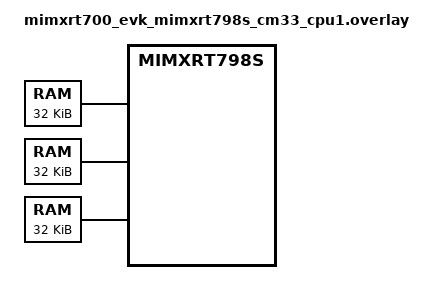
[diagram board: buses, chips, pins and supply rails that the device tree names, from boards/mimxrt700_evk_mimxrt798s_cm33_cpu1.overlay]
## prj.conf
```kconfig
#
# Copyright 2026 NXP
#
# SPDX-License-Identifier: Apache-2.0
#

CONFIG_PRINTK=y
CONFIG_HEAP_MEM_POOL_SIZE=4096
CONFIG_MAIN_STACK_SIZE=4096

CONFIG_IPC_SERVICE=y
CONFIG_IPC_SERVICE_BACKEND_RPMSG_LITE=y
CONFIG_MBOX=y

CONFIG_RPMSGLITE=y
CONFIG_RL_API_HAS_ZEROCOPY=y
CONFIG_RL_USE_STATIC_API=y

CONFIG_LOG=y
CONFIG_IPC_SERVICE_LOG_LEVEL_INF=y
```

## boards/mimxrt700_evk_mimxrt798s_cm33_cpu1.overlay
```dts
/*
 * Copyright 2026 NXP
 *
 * SPDX-License-Identifier: Apache-2.0
 */

#include <zephyr/dt-bindings/ipc_service/static_vrings.h>
#include <zephyr/dt-bindings/memory-attr/memory-attr-arm.h>

/ {
	/* Define memory regions for IPC */
	sram1_ipc0: memory@20200000 {
		compatible = "zephyr,memory-region", "mmio-sram";
		reg = <0x20200000 DT_SIZE_K(32)>;
		zephyr,memory-region = "SRAM1_IPC0";
		zephyr,memory-attr = <DT_MEM_ARM(ATTR_MPU_IO)>;
	};

	sram1_ipc1: memory@20208000 {
		compatible = "zephyr,memory-region", "mmio-sram";
		reg = <0x20208000 DT_SIZE_K(32)>;
		zephyr,memory-region = "SRAM1_IPC1";
		zephyr,memory-attr = <DT_MEM_ARM(ATTR_MPU_IO)>;
	};

	sram1_ipc2: memory@20210000 {
		compatible = "zephyr,memory-region", "mmio-sram";
		reg = <0x20210000 DT_SIZE_K(32)>;
		zephyr,memory-region = "SRAM1_IPC2";
		zephyr,memory-attr = <DT_MEM_ARM(ATTR_MPU_IO)>;
	};

	ipc {
		/delete-node/ ipc0;

		ipc0: ipc0 {
			compatible = "nxp,ipc-rpmsg-lite";
			memory-region = <&sram1_ipc0>;
			mboxes = <&mbox1_b 2>, <&mbox1_b 3>;
			mbox-names = "rx", "tx";
			link-id = <0>;
			role = "remote";
			status = "okay";
		};

		ipc1: ipc1 {
			compatible = "nxp,ipc-rpmsg-lite";
			memory-region = <&sram1_ipc1>;
			notification-parent = <&ipc0>;
			link-id = <1>;
			role = "remote";
			zephyr,priority = <1 PRIO_COOP>;
			zephyr,buffer-size = <128>;
			status = "okay";
		};

		ipc2: ipc2 {
			compatible = "nxp,ipc-rpmsg-lite";
			memory-region = <&sram1_ipc2>;
			notification-parent = <&ipc0>;
			link-id = <2>;
			role = "remote";
			status = "okay";
		};
	};
};
```

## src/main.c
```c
/*
 * Copyright (c) 2021 Carlo Caione <ccaione@baylibre.com>
 * Copyright 2026 NXP
 *
 * SPDX-License-Identifier: Apache-2.0
 */

#include <zephyr/kernel.h>
#include <zephyr/device.h>

#include <zephyr/ipc/ipc_service.h>

#define STACKSIZE    (4096)
#define PRIORITY     K_PRIO_PREEMPT(2)
#define NUM_MESSAGES 20

/* Start-gate semaphores: ipc1 starts after ipc0 ends, ipc2 after ipc1 ends */
static K_SEM_DEFINE(ipc1_start_sem, 0, 1);
static K_SEM_DEFINE(ipc2_start_sem, 0, 1);

/* Bound / data semaphores */
static K_SEM_DEFINE(ipc0_bound_sem, 0, 1);
static K_SEM_DEFINE(ipc1_bound_sem, 0, 1);
static K_SEM_DEFINE(ipc2_bound_sem, 0, 1);

static K_SEM_DEFINE(ipc0_data_sem, 0, 1);
static K_SEM_DEFINE(ipc1_data_sem, 0, 1);
static K_SEM_DEFINE(ipc2_data_sem, 0, 1);

static volatile uint8_t ipc0_received_data;
static volatile uint8_t ipc2_received_data;

/* NOCOPY: ipc1 stores the received buffer pointer */
static void *ipc1_recv_data;

/* ------------------------------------------------------------------ */
/*  IPC instance 0 callbacks                                           */
/* ------------------------------------------------------------------ */

static void ipc0_ept_bound(void *priv)
{
	k_sem_give(&ipc0_bound_sem);
}

static void ipc0_ept_recv(const void *data, size_t len, void *priv)
{
	ipc0_received_data = *((uint8_t *)data);
	k_sem_give(&ipc0_data_sem);
}

static struct ipc_ept_cfg ipc0_ept_cfg = {
	.name = "ipc0",
	.cb = {
		.bound    = ipc0_ept_bound,
		.received = ipc0_ept_recv,
	},
};

/* ------------------------------------------------------------------ */
/*  IPC instance 1 callbacks (NOCOPY)                                  */
/* ------------------------------------------------------------------ */

static void ipc1_ept_bound(void *priv)
{
	k_sem_give(&ipc1_bound_sem);
}

static void ipc1_ept_recv(const void *data, size_t len, void *priv)
{
	ipc1_recv_data = (void *)data;
	k_sem_give(&ipc1_data_sem);
}

static struct ipc_ept_cfg ipc1_ept_cfg = {
	.name = "ipc1",
	.cb = {
		.bound    = ipc1_ept_bound,
		.received = ipc1_ept_recv,
	},
};

/* ------------------------------------------------------------------ */
/*  IPC instance 2 callbacks                                           */
/* ------------------------------------------------------------------ */

static void ipc2_ept_bound(void *priv)
{
	k_sem_give(&ipc2_bound_sem);
}

static void ipc2_ept_recv(const void *data, size_t len, void *priv)
{
	ipc2_received_data = *((uint8_t *)data);
	k_sem_give(&ipc2_data_sem);
}

static struct ipc_ept_cfg ipc2_ept_cfg = {
	.name = "ipc2",
	.cb = {
		.bound    = ipc2_ept_bound,
		.received = ipc2_ept_recv,
	},
};

/* ------------------------------------------------------------------ */
/*  THREAD 0 (IPC instance 0)                                          */
/* ------------------------------------------------------------------ */

static void ipc0_entry(void *dummy0, void *dummy1, void *dummy2)
{
	ARG_UNUSED(dummy0);
	ARG_UNUSED(dummy1);
	ARG_UNUSED(dummy2);

	const struct device *ipc0_instance;
	unsigned char message = 0;
	struct ipc_ept ipc0_ept;
	int ret;

	printk("IPC-service REMOTE [INST 0] demo started\n");

	ipc0_instance = DEVICE_DT_GET(DT_NODELABEL(ipc0));

	ret = ipc_service_open_instance(ipc0_instance);
	if (ret < 0 && ret != -EALREADY) {
		printk("ipc_service_open_instance() failure\n");
		goto out;
	}

	ret = ipc_service_register_endpoint(ipc0_instance, &ipc0_ept, &ipc0_ept_cfg);
	if (ret < 0) {
		printk("ipc_service_register_endpoint() failure\n");
		goto out;
	}

	k_sem_take(&ipc0_bound_sem, K_FOREVER);

	while (message < NUM_MESSAGES - 1) {
		k_sem_take(&ipc0_data_sem, K_FOREVER);
		message = ipc0_received_data;
		printk("REMOTE [0]: %d\n", message);
		message++;

		ret = ipc_service_send(&ipc0_ept, &message, sizeof(message));
		if (ret < 0) {
			printk("send_message(%d) failed with ret %d\n", message, ret);
			break;
		}
	}

	printk("IPC-service REMOTE [INST 0] demo ended.\n");

out:
	k_sem_give(&ipc1_start_sem);
}

K_THREAD_DEFINE(ipc0_thread_id, STACKSIZE, ipc0_entry, NULL, NULL, NULL, PRIORITY, 0, 0);

/* ------------------------------------------------------------------ */
/*  THREAD 1 (IPC instance 1) — NOCOPY                                 */
/* ------------------------------------------------------------------ */

static struct ipc_ept ipc1_ept;

static void ipc1_entry(void *dummy0, void *dummy1, void *dummy2)
{
	ARG_UNUSED(dummy0);
	ARG_UNUSED(dummy1);
	ARG_UNUSED(dummy2);

	const struct device *ipc1_instance;
	unsigned char message = 0;
	int ret;

	/* Wait for instance 0 to finish */
	k_sem_take(&ipc1_start_sem, K_FOREVER);

	printk("IPC-service REMOTE [INST 1] demo started\n");

	ipc1_instance = DEVICE_DT_GET(DT_NODELABEL(ipc1));

	ret = ipc_service_open_instance(ipc1_instance);
	if (ret < 0 && ret != -EALREADY) {
		printk("ipc_service_open_instance() failure\n");
		goto out;
	}

	/*
	 * Give the host thread time to open and register its ipc1 endpoint
	 * after its own ipc0 loop finishes.
	 */
	k_sleep(K_MSEC(100));

	ret = ipc_service_register_endpoint(ipc1_instance, &ipc1_ept, &ipc1_ept_cfg);
	if (ret < 0) {
		printk("ipc_service_register_endpoint() failure\n");
		goto out;
	}

	k_sem_take(&ipc1_bound_sem, K_FOREVER);

	while (message < NUM_MESSAGES) {
		uint32_t len = sizeof(message);
		void *data;

		k_sem_take(&ipc1_data_sem, K_FOREVER);
		printk("REMOTE [1]: %d\n", *((unsigned char *)ipc1_recv_data));

		ret = ipc_service_get_tx_buffer(&ipc1_ept, &data, &len, K_FOREVER);
		if (ret < 0) {
			printk("ipc_service_get_tx_buffer failed with ret %d\n", ret);
			break;
		}

		*((unsigned char *)data) = *((unsigned char *)ipc1_recv_data) + 1;

		ret = ipc_service_release_rx_buffer(&ipc1_ept, ipc1_recv_data);
		if (ret < 0) {
			printk("ipc_service_release_rx_buffer failed with ret %d\n", ret);
			break;
		}

		ret = ipc_service_send_nocopy(&ipc1_ept, data, sizeof(unsigned char));
		if (ret < 0) {
			printk("send_message(%d) failed with ret %d\n", message, ret);
			break;
		}

		message++;
	}

	printk("IPC-service REMOTE [INST 1] demo ended.\n");

out:
	k_sem_give(&ipc2_start_sem);
}

K_THREAD_DEFINE(ipc1_thread_id, STACKSIZE, ipc1_entry, NULL, NULL, NULL, PRIORITY, 0, 0);

/* ------------------------------------------------------------------ */
/*  THREAD 2 (IPC instance 2)                                          */
/* ------------------------------------------------------------------ */

static void ipc2_entry(void *dummy0, void *dummy1, void *dummy2)
{
	ARG_UNUSED(dummy0);
	ARG_UNUSED(dummy1);
	ARG_UNUSED(dummy2);

	const struct device *ipc2_instance;
	unsigned char message = 0;
	struct ipc_ept ipc2_ept;
	int ret;

	/* Wait for instance 1 to finish */
	k_sem_take(&ipc2_start_sem, K_FOREVER);

	printk("IPC-service REMOTE [INST 2] demo started\n");

	ipc2_instance = DEVICE_DT_GET(DT_NODELABEL(ipc2));

	ret = ipc_service_open_instance(ipc2_instance);
	if (ret < 0 && ret != -EALREADY) {
		printk("ipc_service_open_instance() failure\n");
		return;
	}

	ret = ipc_service_register_endpoint(ipc2_instance, &ipc2_ept, &ipc2_ept_cfg);
	if (ret < 0) {
		printk("ipc_service_register_endpoint() failure\n");
		return;
	}

	k_sem_take(&ipc2_bound_sem, K_FOREVER);

	while (message < NUM_MESSAGES - 1) {
		k_sem_take(&ipc2_data_sem, K_FOREVER);
		message = ipc2_received_data;
		printk("REMOTE [2]: %d\n", message);
		message++;

		ret = ipc_service_send(&ipc2_ept, &message, sizeof(message));
		if (ret < 0) {
			printk("send_message(%d) failed with ret %d\n", message, ret);
			break;
		}
	}

	printk("IPC-service REMOTE [INST 2] demo ended.\n");
}

K_THREAD_DEFINE(ipc2_thread_id, STACKSIZE, ipc2_entry, NULL, NULL, NULL, PRIORITY, 0, 0);
```
